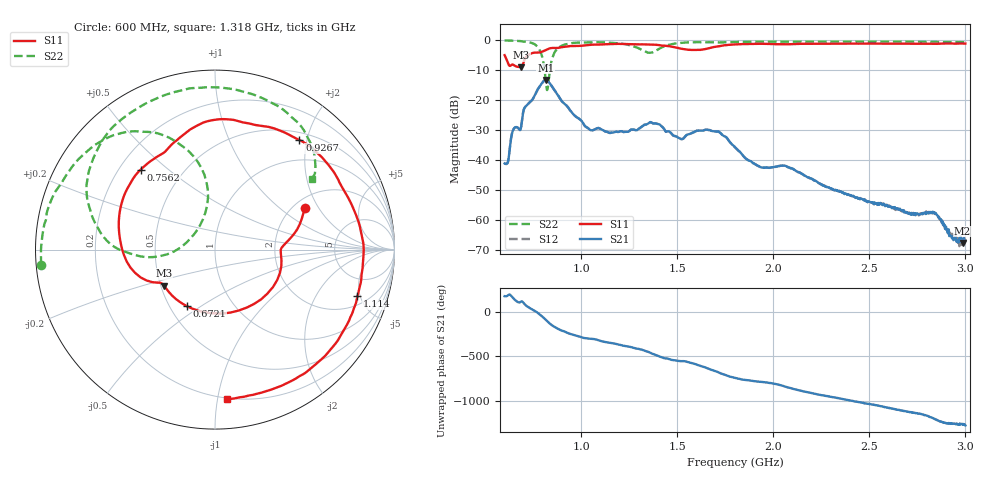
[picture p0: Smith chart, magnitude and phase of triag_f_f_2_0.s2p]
#  HZ  S  RI  R  50.00
! Rohde & Schwarz ZVB8 2Ports - Version 2.81 - 1145.1010k08 SN: 100113
! Date: 2016-05-03 01:37:48
! Measurements: S11 S21 S12 S22
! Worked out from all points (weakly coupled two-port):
!   1000 points, 600 MHz to 3 GHz, reference 50 ohm
!   highest |S21| = -13.45 dB at 813.8 MHz (marker M1); lowest = -67.8 dB at 2.986 GHz (marker M2)
!   lowest |S11| = -9.2 dB at 686.5 MHz (marker M3), VSWR 2.06, Z = 26.1 - j11.9 ohm
!   |S11| at or under -10 dB: nowhere
!   |S22| runs from -16.8 to -0.2 dB; largest |S21 - S12| = 0.0021
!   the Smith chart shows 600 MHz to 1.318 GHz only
!   S11 on the Smith chart (normalised r, x): 600 MHz: 2.28, +1.54; 672.1 MHz: 0.61, -0.44; 756.2 MHz: 0.29, +0.41; 926.7 MHz: 0.62, +1.87; 1.114 GHz: 2.74, -4.71; 1.318 GHz: 0.19, -1.06
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6e8  0.4999 0.2341  -0.00855 0.00124  -0.0085 0.00121  -0.9684 -0.0852
6.408408e8  0.3469 -0.1689  -0.0272 0.0103  -0.0272 0.0102  -0.9566 0.1124
6.720721e8  -0.1576 -0.315  -0.00778 0.0324  -0.00786 0.0324  -0.9187 0.2599
6.864865e8  -0.2835 -0.2003  -0.0138 0.0331  -0.0141 0.0329  -0.8836 0.3315
7.201201e8  -0.5342 0.0964  0.0487 0.0677  0.0484 0.0678  -0.7725 0.4905
7.561562e8  -0.4142 0.4456  0.1154 0.0192  0.1151 0.0201  -0.5425 0.6436
8.138138e8  -0.162 0.6513  -0.00805 -0.2124  -0.00678 -0.2124  -0.0529 0.2083
8.45045e8  0.0332 0.7267  -0.1476 -0.0843  -0.147 -0.0846  -0.4478 -0.0296
9.267267e8  0.4705 0.6103  -0.0421 0.0647  -0.0423 0.0645  -0.6735 0.5183
1.001201e9  0.729 0.3116  0.0135 0.042  0.0132 0.042  -0.4328 0.7863
1.114114e9  0.793 -0.2603  0.0282 0.0126  0.0281 0.0127  0.031 0.9028
1.318318e9  0.0668 -0.8344  0.0134 -0.0336  0.0135 -0.0336  0.5403 0.3928
1.4e9  -0.2944 -0.7619  -0.0276 -0.0278  -0.0275 -0.0278  0.5454 0.4269
1.565766e9  -0.5911 -0.3308  -0.0232 0.0137  -0.0232 0.0135  0.9017 -0.0916
1.801201e9  -0.7849 0.284  0.0149 -0.00583  0.0148 -0.00578  0.4626 -0.788
2.000601e9  -0.2467 0.808  0.000682 -0.00744  0.000716 -0.00745  -0.1518 -0.9165
2.2e9  0.4895 0.6995  -0.00471 0.000909  -0.0047 0.00085  -0.6431 -0.6735
2.399399e9  0.8622 -0.021  0.000167 0.00252  0.000112 0.00257  -0.895 -0.2551
2.601201e9  0.4615 -0.7282  0.00165 5.9e-05  0.00164 0.000116  -0.9068 0.2054
2.783784e9  -0.2139 -0.8331  0.000371 -0.00122  0.000341 -0.00124  -0.7183 0.5775
2.985586e9  -0.761 -0.409  -0.000407 3.22e-05  -0.000432 -1.03e-05  -0.3531 0.8407
3e9  -0.7807 -0.3669  -0.000436 9.31e-05  -0.00047 7.7e-05  -0.3192 0.8534
